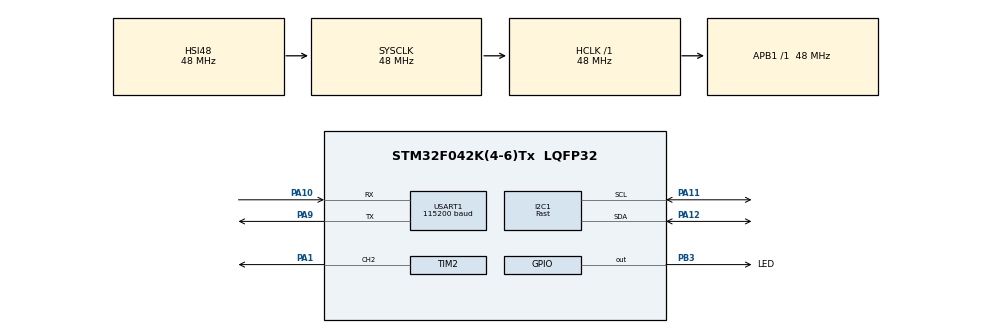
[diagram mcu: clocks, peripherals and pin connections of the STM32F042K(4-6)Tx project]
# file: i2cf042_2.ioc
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Mcu.Family=STM32F0
I2C1.Speed=400
I2C1.I2C_Speed_Mode=I2C_Fast
PA10.Mode=Asynchronous
USART1.BaudRate=115200
USART1.WordLength=WORDLENGTH_8B
PA14.GPIO_Label=SWCLK
PA11.Mode=I2C
TIM2.Channel-PWM\ Generation2\ CH2=TIM_CHANNEL_2
RCC.SYSCLKSource=RCC_SYSCLKSOURCE_HSI48
ProjectManager.StackSize=0x400
USART1.VirtualMode-Asynchronous=VM_ASYNC
PA13.Signal=SYS_SWDIO
SH.S_TIM2_CH2.0=TIM2_CH2,PWM Generation2 CH2
PA9.Mode=Asynchronous
PA12.Signal=I2C1_SDA
ProjectManager.TargetToolchain=STM32CubeIDE
RCC.HCLKFreq_Value=48000000
PA9.Signal=USART1_TX
I2C1.Timing=0x0000020B
PA1.Signal=S_TIM2_CH2
RCC.AHBFreq_Value=48000000
PF0-OSC_IN.Mode=HSE-External-Clock-Source
PF0-OSC_IN.GPIO_Label=MCO
board=NUCLEO-F042K6
PA14.Mode=Serial_Wire
TIM2.Period=0
PA13.Mode=Serial_Wire
Mcu.Name=STM32F042K(4-6)Tx
PA13.GPIO_Label=SWDIO
PB3.Signal=GPIO_Output
RCC.SYSCLKFreq_VALUE=48000000
Mcu.Package=LQFP32
TIM2.Prescaler=20-1
PA12.Mode=I2C
PA11.Signal=I2C1_SCL
PA10.Signal=USART1_RX
PA14.Signal=SYS_SWCLK
ProjectManager.HeapSize=0x200
RCC.APB1TimFreq_Value=48000000
PF0-OSC_IN.Signal=RCC_OSC_IN
RCC.APB1Freq_Value=48000000
PB3.GPIO_Label=LED

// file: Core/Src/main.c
/* USER CODE BEGIN Header */
/**
  ******************************************************************************
  * @file           : main.c
  * @brief          : Main program body
  ******************************************************************************
  * @attention
  *
  * <h2><center>&copy; Copyright (c) 2021 STMicroelectronics.
  * All rights reserved.</center></h2>
  *
  * This software component is licensed by ST under BSD 3-Clause license,
  * the "License"; You may not use this file except in compliance with the
  * License. You may obtain a copy of the License at:
  *                        opensource.org/licenses/BSD-3-Clause
  *
  ******************************************************************************
  */
/* USER CODE END Header */
#include "main.h"

/* USER CODE BEGIN Includes */
#include "stdio.h"
#include "stdlib.h"
#include "string.h"
/* USER CODE END Includes */

UART_HandleTypeDef huart1;
I2C_HandleTypeDef hi2c1;
TIM_HandleTypeDef htim2;
/* USER CODE BEGIN PV */
uint8_t AHT10_RX_Data[6];
uint32_t AHT10_ADC_Raw;
float AHT10_Temperature = 11;
//float AHT10_Humidity;
uint8_t AHT10_TmpHum_Cmd[3] = {0xAC, 0x33, 0x00};
int temp = 0;
#define AHT10_ADRESS (0x38 << 1) // 0b1110000; Adress[7-bit]Wite/Read[1-bit]
uint8_t T_100ms = 255;
uint8_t AHT10_Switcher = 255;
int i = 0;
/* USER CODE END PV */

void SystemClock_Config(void);
static void MX_GPIO_Init(void);
static void MX_I2C1_Init(void);
static void MX_USART1_UART_Init(void);
static void MX_TIM2_Init(void);

/* USER CODE BEGIN 0 */

int __io_putchar (int ch){
	HAL_UART_Transmit(&huart1, (uint8_t*)&ch, 1, 0xFFFF);
	return 0;
}

//void HAL_TIM_PeriodElapsedCallback(TIM_HandleTypeDef *htim)
//{
// if(htim->Instance == TIM3)
// {
//	/* Set every 100ms */
//	T_100ms = 255;
// }
//}
/* USER CODE END 0 */

int main(void)
{

  /* MCU Configuration--------------------------------------------------------*/

  /* Reset of all peripherals, Initializes the Flash interface and the Systick. */
  HAL_Init();

  /* Configure the system clock */
  SystemClock_Config();

  /* Initialize all configured peripherals */
  MX_GPIO_Init();
  MX_I2C1_Init();
  MX_USART1_UART_Init();
  MX_TIM2_Init();
  /* USER CODE BEGIN 2 */

  TIM2->ARR = 100;
 // TIM2->CCR2 = 50;
  //TIM3->CCR2 = 50;
  HAL_TIM_PWM_Start_IT(&htim2, TIM_CHANNEL_2);
  //HAL_TIM_Base_Start_IT(&htim3);
  /* USER CODE END 2 */

  /* Infinite loop */
  /* USER CODE BEGIN WHILE */
  while (1)
  {

	  //TIM2->CCR2 = 50;

	  HAL_I2C_Master_Transmit(&hi2c1, AHT10_ADRESS, &AHT10_TmpHum_Cmd, 1, 100);
	  HAL_Delay(100); // Delay must be > 75 ms
	  HAL_I2C_Master_Receive(&hi2c1, AHT10_ADRESS, (uint8_t*)AHT10_RX_Data, 6, 100);
//	  /* Convert to Temperature in °C */
	 AHT10_ADC_Raw = (((uint32_t)AHT10_RX_Data[3] & 15) << 16) | ((uint32_t)AHT10_RX_Data[4] << 8) | AHT10_RX_Data[5];
	  AHT10_Temperature = (float)(AHT10_ADC_Raw * 200.00 / 1048576.00) - 50.00;
 	 i = (int) AHT10_Temperature;
//	 	   int pwm = i;
//	       HAL_UART_Transmit(&huart1,i, strlen(i), -1);
//	       HAL_UART_Transmit(&huart1,water, strlen(water) , -1);
//
//	 	 printf("temp = %d \r\n", i);

	 	if ( i < 30){
	 				TIM2->CCR2 = 20;
	 			}else if(i >= 30 & i <= 40 ){
	 				TIM2->CCR2 = 50;
	 			} else if(i > 40){
	 				TIM2->CCR2 = 90;
	 			}
	 	int pwm = TIM2->CCR2;

	 	 printf("pwm = %d \n tempreture = %d \r", pwm,i);
	        	HAL_Delay(1000);
	        	HAL_GPIO_WritePin(LED_GPIO_Port, LED_Pin, GPIO_PIN_SET);

    /* USER CODE END WHILE */

  }
}

void SystemClock_Config(void)
{
  RCC_OscInitTypeDef RCC_OscInitStruct = {0};
  RCC_ClkInitTypeDef RCC_ClkInitStruct = {0};
  RCC_PeriphCLKInitTypeDef PeriphClkInit = {0};

  /** Initializes the RCC Oscillators according to the specified parameters
  * in the RCC_OscInitTypeDef structure.
  */
  RCC_OscInitStruct.OscillatorType = RCC_OSCILLATORTYPE_HSI|RCC_OSCILLATORTYPE_HSI48;
  RCC_OscInitStruct.HSIState = RCC_HSI_ON;
  RCC_OscInitStruct.HSI48State = RCC_HSI48_ON;
  RCC_OscInitStruct.HSICalibrationValue = RCC_HSICALIBRATION_DEFAULT;
  RCC_OscInitStruct.PLL.PLLState = RCC_PLL_NONE;
  if (HAL_RCC_OscConfig(&RCC_OscInitStruct) != HAL_OK)
  {
    Error_Handler();
  }
  /** Initializes the CPU, AHB and APB buses clocks
  */
  RCC_ClkInitStruct.ClockType = RCC_CLOCKTYPE_HCLK|RCC_CLOCKTYPE_SYSCLK
                              |RCC_CLOCKTYPE_PCLK1;
  RCC_ClkInitStruct.SYSCLKSource = RCC_SYSCLKSOURCE_HSI48;
  RCC_ClkInitStruct.AHBCLKDivider = RCC_SYSCLK_DIV1;
  RCC_ClkInitStruct.APB1CLKDivider = RCC_HCLK_DIV1;

  if (HAL_RCC_ClockConfig(&RCC_ClkInitStruct, FLASH_LATENCY_1) != HAL_OK)
  {
    Error_Handler();
  }
  PeriphClkInit.PeriphClockSelection = RCC_PERIPHCLK_USART1|RCC_PERIPHCLK_I2C1;
  PeriphClkInit.Usart1ClockSelection = RCC_USART1CLKSOURCE_PCLK1;
  PeriphClkInit.I2c1ClockSelection = RCC_I2C1CLKSOURCE_HSI;
  if (HAL_RCCEx_PeriphCLKConfig(&PeriphClkInit) != HAL_OK)
  {
    Error_Handler();
  }
}

static void MX_I2C1_Init(void)
{

  hi2c1.Instance = I2C1;
  hi2c1.Init.Timing = 0x0000020B;
  hi2c1.Init.OwnAddress1 = 0;
  hi2c1.Init.AddressingMode = I2C_ADDRESSINGMODE_7BIT;
  hi2c1.Init.DualAddressMode = I2C_DUALADDRESS_DISABLE;
  hi2c1.Init.OwnAddress2 = 0;
  hi2c1.Init.OwnAddress2Masks = I2C_OA2_NOMASK;
  hi2c1.Init.GeneralCallMode = I2C_GENERALCALL_DISABLE;
  hi2c1.Init.NoStretchMode = I2C_NOSTRETCH_DISABLE;
  if (HAL_I2C_Init(&hi2c1) != HAL_OK)
  {
    Error_Handler();
  }
  /** Configure Analogue filter
  */
  if (HAL_I2CEx_ConfigAnalogFilter(&hi2c1, I2C_ANALOGFILTER_ENABLE) != HAL_OK)
  {
    Error_Handler();
  }
  /** Configure Digital filter
  */
  if (HAL_I2CEx_ConfigDigitalFilter(&hi2c1, 0) != HAL_OK)
  {
    Error_Handler();
  }

}

static void MX_TIM2_Init(void)
{

  TIM_MasterConfigTypeDef sMasterConfig = {0};
  TIM_OC_InitTypeDef sConfigOC = {0};

  htim2.Instance = TIM2;
  htim2.Init.Prescaler = 20-1;
  htim2.Init.CounterMode = TIM_COUNTERMODE_UP;
  htim2.Init.Period = 0;
  htim2.Init.ClockDivision = TIM_CLOCKDIVISION_DIV1;
  htim2.Init.AutoReloadPreload = TIM_AUTORELOAD_PRELOAD_DISABLE;
  if (HAL_TIM_PWM_Init(&htim2) != HAL_OK)
  {
    Error_Handler();
  }
  sMasterConfig.MasterOutputTrigger = TIM_TRGO_RESET;
  sMasterConfig.MasterSlaveMode = TIM_MASTERSLAVEMODE_DISABLE;
  if (HAL_TIMEx_MasterConfigSynchronization(&htim2, &sMasterConfig) != HAL_OK)
  {
    Error_Handler();
  }
  sConfigOC.OCMode = TIM_OCMODE_PWM1;
  sConfigOC.Pulse = 0;
  sConfigOC.OCPolarity = TIM_OCPOLARITY_HIGH;
  sConfigOC.OCFastMode = TIM_OCFAST_DISABLE;
  if (HAL_TIM_PWM_ConfigChannel(&htim2, &sConfigOC, TIM_CHANNEL_2) != HAL_OK)
  {
    Error_Handler();
  }
  HAL_TIM_MspPostInit(&htim2);

}

static void MX_USART1_UART_Init(void)
{

  huart1.Instance = USART1;
  huart1.Init.BaudRate = 115200;
  huart1.Init.WordLength = UART_WORDLENGTH_8B;
  huart1.Init.StopBits = UART_STOPBITS_1;
  huart1.Init.Parity = UART_PARITY_NONE;
  huart1.Init.Mode = UART_MODE_TX_RX;
  huart1.Init.HwFlowCtl = UART_HWCONTROL_NONE;
  huart1.Init.OverSampling = UART_OVERSAMPLING_16;
  huart1.Init.OneBitSampling = UART_ONE_BIT_SAMPLE_DISABLE;
  huart1.AdvancedInit.AdvFeatureInit = UART_ADVFEATURE_NO_INIT;
  if (HAL_UART_Init(&huart1) != HAL_OK)
  {
    Error_Handler();
  }

}

static void MX_GPIO_Init(void)
{
  GPIO_InitTypeDef GPIO_InitStruct = {0};

  /* GPIO Ports Clock Enable */
  __HAL_RCC_GPIOF_CLK_ENABLE();
  __HAL_RCC_GPIOA_CLK_ENABLE();
  __HAL_RCC_GPIOB_CLK_ENABLE();

  /*Configure GPIO pin Output Level */
  HAL_GPIO_WritePin(LED_GPIO_Port, LED_Pin, GPIO_PIN_RESET);

  /*Configure GPIO pin : LED_Pin */
  GPIO_InitStruct.Pin = LED_Pin;
  GPIO_InitStruct.Mode = GPIO_MODE_OUTPUT_PP;
  GPIO_InitStruct.Pull = GPIO_NOPULL;
  GPIO_InitStruct.Speed = GPIO_SPEED_FREQ_LOW;
  HAL_GPIO_Init(LED_GPIO_Port, &GPIO_InitStruct);

}

void Error_Handler(void)
{
  __disable_irq();
  while (1)
  {
  }
}

/************************ (C) COPYRIGHT STMicroelectronics *****END OF FILE****/
